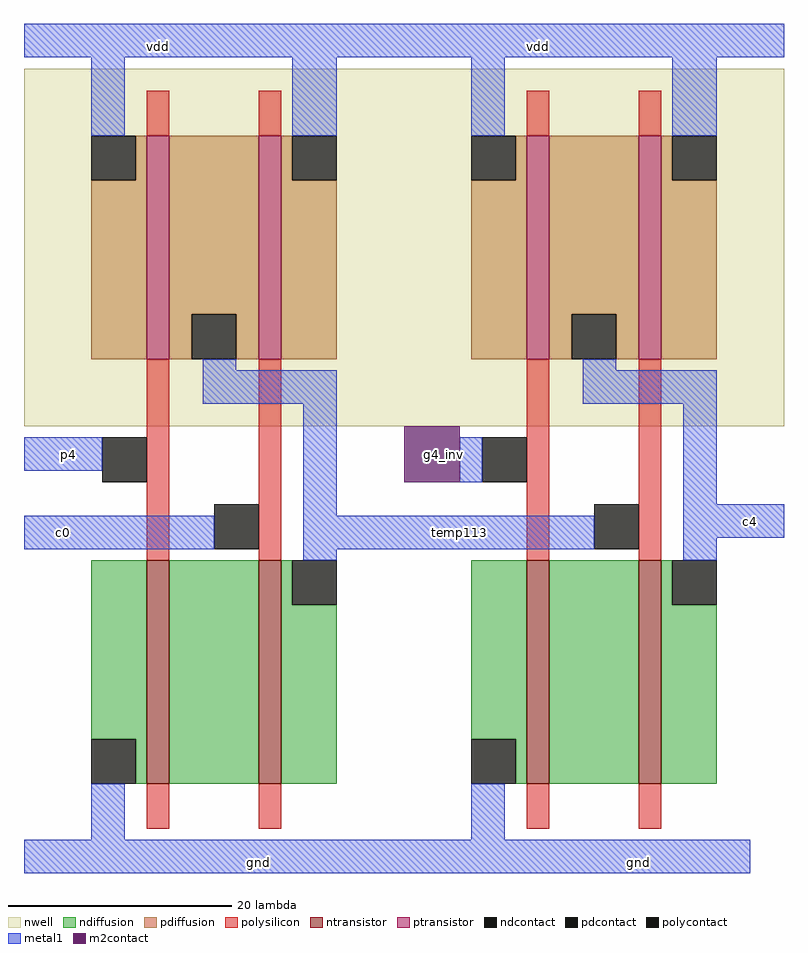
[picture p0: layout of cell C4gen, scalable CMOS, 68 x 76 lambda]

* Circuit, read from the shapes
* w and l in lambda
.subckt C4gen c0 c4 g4_inv gnd p4 temp113 vdd
M1 n1 p4 gnd VSUBS nfet w=20 l=2
M2 temp113 c0 n1 VSUBS nfet w=20 l=2
M3 n2 g4_inv gnd VSUBS nfet w=20 l=2
M4 c4 temp113 n2 VSUBS nfet w=20 l=2
M5 temp113 p4 vdd n3 pfet w=20 l=2
M6 vdd c0 temp113 n3 pfet w=20 l=2
M7 c4 g4_inv vdd n3 pfet w=20 l=2
M8 vdd temp113 c4 n3 pfet w=20 l=2
.ends

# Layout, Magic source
magic
tech scmos
<< nwell >>
rect -67 39 1 71
<< ntransistor >>
rect -56 7 -54 27
rect -46 7 -44 27
rect -22 7 -20 27
rect -12 7 -10 27
<< ptransistor >>
rect -56 45 -54 65
rect -46 45 -44 65
rect -22 45 -20 65
rect -12 45 -10 65
<< ndiffusion >>
rect -61 11 -56 27
rect -57 7 -56 11
rect -54 7 -46 27
rect -44 23 -43 27
rect -44 7 -39 23
rect -27 11 -22 27
rect -23 7 -22 11
rect -20 7 -12 27
rect -10 23 -9 27
rect -10 7 -5 23
<< pdiffusion >>
rect -57 61 -56 65
rect -61 45 -56 61
rect -54 49 -46 65
rect -54 45 -52 49
rect -48 45 -46 49
rect -44 61 -43 65
rect -44 45 -39 61
rect -23 61 -22 65
rect -27 45 -22 61
rect -20 49 -12 65
rect -20 45 -18 49
rect -14 45 -12 49
rect -10 61 -9 65
rect -10 45 -5 61
<< ndcontact >>
rect -61 7 -57 11
rect -43 23 -39 27
rect -27 7 -23 11
rect -9 23 -5 27
<< pdcontact >>
rect -61 61 -57 65
rect -52 45 -48 49
rect -43 61 -39 65
rect -27 61 -23 65
rect -18 45 -14 49
rect -9 61 -5 65
<< polysilicon >>
rect -56 65 -54 69
rect -46 65 -44 69
rect -22 65 -20 69
rect -12 65 -10 69
rect -56 27 -54 45
rect -46 27 -44 45
rect -22 27 -20 45
rect -12 27 -10 45
rect -56 3 -54 7
rect -46 3 -44 7
rect -22 3 -20 7
rect -12 3 -10 7
<< polycontact >>
rect -60 34 -56 38
rect -50 28 -46 32
rect -26 34 -22 38
rect -16 28 -12 32
<< metal1 >>
rect -67 72 1 75
rect -61 65 -58 72
rect -43 65 -39 72
rect -27 65 -24 72
rect -9 65 -5 72
rect -51 44 -48 45
rect -17 44 -14 45
rect -51 41 -39 44
rect -17 41 -5 44
rect -67 35 -60 38
rect -67 28 -50 31
rect -42 31 -39 41
rect -28 34 -26 38
rect -8 32 -5 41
rect -42 28 -16 31
rect -8 29 1 32
rect -42 27 -39 28
rect -8 27 -5 29
rect -61 2 -58 7
rect -27 2 -24 7
rect -67 -1 -2 2
<< m2contact >>
rect -33 34 -28 39
<< labels >>
rlabel metal1 -55 73 -55 73 5 vdd
rlabel metal1 -46 0 -46 0 1 gnd
rlabel metal1 -64 35 -62 38 3 p4
rlabel metal1 -65 28 -62 31 3 c0
rlabel metal1 -21 73 -21 73 5 vdd
rlabel metal1 -12 0 -12 0 1 gnd
rlabel metal1 -29 29 -27 30 1 temp113
rlabel m2contact -31 35 -28 38 1 g4_inv
rlabel metal1 -5 29 1 32 7 c4
<< end >>
